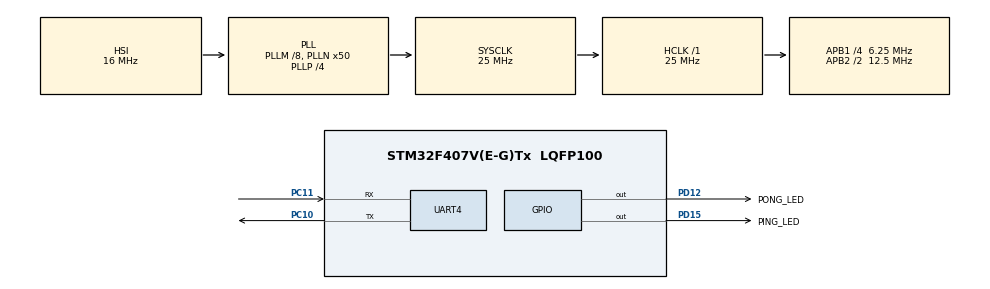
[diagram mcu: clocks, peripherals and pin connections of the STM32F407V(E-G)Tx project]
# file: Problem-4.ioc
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Mcu.Family=STM32F4
Mcu.Name=STM32F407V(E-G)Tx
Mcu.Package=LQFP100
NVIC.PriorityGroup=NVIC_PRIORITYGROUP_0
NVIC.UART4_IRQn=true\:0\:0\:false\:false\:true\:true\:true\:true
PC10.GPIO_PuPd=GPIO_PULLUP
PC10.Mode=Asynchronous
PC10.Signal=UART4_TX
PC11.GPIO_PuPd=GPIO_PULLUP
PC11.Mode=Asynchronous
PC11.Signal=UART4_RX
PD12.GPIO_Label=PONG_LED
PD12.Signal=GPIO_Output
PD15.GPIO_Label=PING_LED
PD15.Signal=GPIO_Output
ProjectManager.HeapSize=0x200
ProjectManager.StackSize=0x400
ProjectManager.TargetToolchain=STM32CubeIDE
RCC.48MHZClocksFreq_Value=14285714.285714285
RCC.AHBFreq_Value=25000000
RCC.APB1CLKDivider=RCC_HCLK_DIV4
RCC.APB1Freq_Value=6250000
RCC.APB1TimFreq_Value=12500000
RCC.APB2CLKDivider=RCC_HCLK_DIV2
RCC.APB2Freq_Value=12500000
RCC.APB2TimFreq_Value=25000000
RCC.CortexFreq_Value=25000000
RCC.HCLKFreq_Value=25000000
RCC.HSE_VALUE=8000000
RCC.HSI_VALUE=16000000
RCC.LSE_VALUE=32768
RCC.PLLM=8
RCC.PLLN=50
RCC.PLLP=RCC_PLLP_DIV4
RCC.PLLQ=7
RCC.SYSCLKFreq_VALUE=25000000
RCC.SYSCLKSource=RCC_SYSCLKSOURCE_PLLCLK
RCC.VCOOutputFreq_Value=100000000
UART4.VirtualMode=Asynchronous
board=STM32F407G-DISC1

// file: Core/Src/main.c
/* USER CODE BEGIN Header */
/**
  ******************************************************************************
  * @file           : main.c
  * @brief          : Main program body
  ******************************************************************************
  * @attention
  *
  * Copyright (c) 2024 STMicroelectronics.
  * All rights reserved.
  *
  * This software is licensed under terms that can be found in the LICENSE file
  * in the root directory of this software component.
  * If no LICENSE file comes with this software, it is provided AS-IS.
  *
  ******************************************************************************
  */
/* USER CODE END Header */
#include "main.h"

/* USER CODE BEGIN Includes */
#include "stdlib.h"
#include "string.h"
#include "stdbool.h"
/* USER CODE END Includes */

/* USER CODE BEGIN PD */
#define PING_PONG_BUFFER_SIZE		13U
#define BYTE_BUFFER_SIZE		     1U
//#define BOARD1
/* USER CODE END PD */

UART_HandleTypeDef huart4;

/* USER CODE BEGIN PV */
uint8_t PingPongBuffer[PING_PONG_BUFFER_SIZE];
uint8_t ByteBuffer[BYTE_BUFFER_SIZE];
uint8_t Ping_Msg[] = "Ping Message";
uint8_t Pong_Msg[] = "Pong Message";
uint16_t BufferIndex = 0;
bool SendPingMessage = {false};

/* USER CODE END PV */

void SystemClock_Config(void);
static void MX_GPIO_Init(void);
static void MX_UART4_Init(void);

int main(void)
{

  /* MCU Configuration--------------------------------------------------------*/

  /* Reset of all peripherals, Initializes the Flash interface and the Systick. */
  HAL_Init();

  /* Configure the system clock */
  SystemClock_Config();

  /* Initialize all configured peripherals */
  MX_GPIO_Init();
  MX_UART4_Init();
  /* USER CODE BEGIN 2 */
  if ( HAL_UART_Receive_IT(&huart4, ByteBuffer, sizeof(ByteBuffer)) != HAL_OK )
  {
	 Error_Handler();
  }

  HAL_Delay(500);

  if(HAL_UART_Transmit_IT(&huart4, Ping_Msg, PING_PONG_BUFFER_SIZE)!=HAL_OK)
  {
	  Error_Handler();
  }
  /* USER CODE END 2 */

  /* Infinite loop */
  while (1)
  {

    /* USER CODE BEGIN 3 */
	  if(1 == SendPingMessage)
	  {
		  if(strcmp((char *)PingPongBuffer, "Ping Message") == 0)
		  {
		     HAL_GPIO_WritePin(PING_LED_GPIO_Port, PING_LED_Pin, SET);
		     HAL_Delay(1000);
		     HAL_GPIO_WritePin(PING_LED_GPIO_Port, PING_LED_Pin, RESET);
		     HAL_UART_Transmit_IT(&huart4, Pong_Msg, PING_PONG_BUFFER_SIZE);
          }
	  else
	  {
		    HAL_GPIO_WritePin(PONG_LED_GPIO_Port, PONG_LED_Pin, SET);
		    HAL_Delay(1000);
		    HAL_GPIO_WritePin(PONG_LED_GPIO_Port, PONG_LED_Pin, RESET);
		    HAL_UART_Transmit_IT(&huart4, Ping_Msg, PING_PONG_BUFFER_SIZE);
	   }

		 SendPingMessage = 0;
	  }

  }
  /* USER CODE END 3 */
}

void SystemClock_Config(void)
{
  RCC_OscInitTypeDef RCC_OscInitStruct = {0};
  RCC_ClkInitTypeDef RCC_ClkInitStruct = {0};

  /** Configure the main internal regulator output voltage
  */
  __HAL_RCC_PWR_CLK_ENABLE();
  __HAL_PWR_VOLTAGESCALING_CONFIG(PWR_REGULATOR_VOLTAGE_SCALE1);

  /** Initializes the RCC Oscillators according to the specified parameters
  * in the RCC_OscInitTypeDef structure.
  */
  RCC_OscInitStruct.OscillatorType = RCC_OSCILLATORTYPE_HSI;
  RCC_OscInitStruct.HSIState = RCC_HSI_ON;
  RCC_OscInitStruct.HSICalibrationValue = RCC_HSICALIBRATION_DEFAULT;
  RCC_OscInitStruct.PLL.PLLState = RCC_PLL_ON;
  RCC_OscInitStruct.PLL.PLLSource = RCC_PLLSOURCE_HSI;
  RCC_OscInitStruct.PLL.PLLM = 8;
  RCC_OscInitStruct.PLL.PLLN = 50;
  RCC_OscInitStruct.PLL.PLLP = RCC_PLLP_DIV4;
  RCC_OscInitStruct.PLL.PLLQ = 7;
  if (HAL_RCC_OscConfig(&RCC_OscInitStruct) != HAL_OK)
  {
    Error_Handler();
  }

  /** Initializes the CPU, AHB and APB buses clocks
  */
  RCC_ClkInitStruct.ClockType = RCC_CLOCKTYPE_HCLK|RCC_CLOCKTYPE_SYSCLK
                              |RCC_CLOCKTYPE_PCLK1|RCC_CLOCKTYPE_PCLK2;
  RCC_ClkInitStruct.SYSCLKSource = RCC_SYSCLKSOURCE_PLLCLK;
  RCC_ClkInitStruct.AHBCLKDivider = RCC_SYSCLK_DIV1;
  RCC_ClkInitStruct.APB1CLKDivider = RCC_HCLK_DIV4;
  RCC_ClkInitStruct.APB2CLKDivider = RCC_HCLK_DIV2;

  if (HAL_RCC_ClockConfig(&RCC_ClkInitStruct, FLASH_LATENCY_0) != HAL_OK)
  {
    Error_Handler();
  }
}

static void MX_UART4_Init(void)
{

  huart4.Instance = UART4;
  huart4.Init.BaudRate = 115200;
  huart4.Init.WordLength = UART_WORDLENGTH_8B;
  huart4.Init.StopBits = UART_STOPBITS_1;
  huart4.Init.Parity = UART_PARITY_NONE;
  huart4.Init.Mode = UART_MODE_TX_RX;
  huart4.Init.HwFlowCtl = UART_HWCONTROL_NONE;
  huart4.Init.OverSampling = UART_OVERSAMPLING_16;
  if (HAL_UART_Init(&huart4) != HAL_OK)
  {
    Error_Handler();
  }

}

static void MX_GPIO_Init(void)
{
  GPIO_InitTypeDef GPIO_InitStruct = {0};

  /* GPIO Ports Clock Enable */
  __HAL_RCC_GPIOD_CLK_ENABLE();
  __HAL_RCC_GPIOC_CLK_ENABLE();

  /*Configure GPIO pin Output Level */
  HAL_GPIO_WritePin(GPIOD, PONG_LED_Pin|PING_LED_Pin, GPIO_PIN_RESET);

  /*Configure GPIO pins : PONG_LED_Pin PING_LED_Pin */
  GPIO_InitStruct.Pin = PONG_LED_Pin|PING_LED_Pin;
  GPIO_InitStruct.Mode = GPIO_MODE_OUTPUT_PP;
  GPIO_InitStruct.Pull = GPIO_NOPULL;
  GPIO_InitStruct.Speed = GPIO_SPEED_FREQ_LOW;
  HAL_GPIO_Init(GPIOD, &GPIO_InitStruct);

}

/* USER CODE BEGIN 4 */
void HAL_UART_RxCpltCallback(UART_HandleTypeDef *huart)
{
	if (huart->Instance == UART4)
	   {
		  PingPongBuffer[BufferIndex] = ByteBuffer[0];
		  ++BufferIndex;
		 if (BufferIndex >= sizeof(PingPongBuffer))
	      {
	          BufferIndex = 0;
	      }

		 HAL_UART_Receive_IT(&huart4, ByteBuffer, sizeof(ByteBuffer));

	    if(BufferIndex == PING_PONG_BUFFER_SIZE - 1)
	    {
	       SendPingMessage = 1;
	    }

	  }
}

void HAL_UART_TxCpltCallback(UART_HandleTypeDef *huart)
{
	__NOP();
}

/* USER CODE END 4 */

void Error_Handler(void)
{
  __disable_irq();
  while (1)
  {
  }
}
